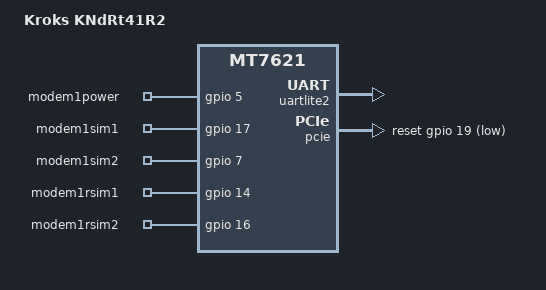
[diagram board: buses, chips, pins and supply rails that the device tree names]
#include "mt7621_kroks_wifi_mt7603_mt7613.dtsi"

/ {
	compatible = "kroks,kndrt41r2", "mediatek,mt7621-soc";
	model = "Kroks KNdRt41R2";

	aliases {
		serial1 = &uartlite2;
	};

	gpio_export {
		compatible = "gpio-export";
		#size-cells = <0>;

		modem1power {
			gpio-export,name = "modem1power";
			gpio-export,output = <1>;
			gpios = <&gpio 5 GPIO_ACTIVE_HIGH>;
		};

		modem1sim1 {
			gpio-export,name = "modem1sim1";
			gpio-export,output = <0>;
			gpios = <&gpio 17 GPIO_ACTIVE_HIGH>;
		};

		modem1sim2 {
			gpio-export,name = "modem1sim2";
			gpio-export,output = <0>;
			gpios = <&gpio 7 GPIO_ACTIVE_HIGH>;
		};

		modem1rsim1 {
			gpio-export,name = "modem1rsim1";
			gpio-export,output = <1>;
			gpios = <&gpio 14 GPIO_ACTIVE_HIGH>;
		};

		modem1rsim2 {
			gpio-export,name = "modem1rsim2";
			gpio-export,output = <0>;
			gpios = <&gpio 16 GPIO_ACTIVE_HIGH>;
		};
	};
};

&uartlite2 {
	status = "okay";
};

&switch0 {
	ports {
		port@3 {
			status = "okay";
			label = "lan2";
		};

		port@4 {
			status = "okay";
			label = "lan1";
		};
	};
};

&xhci {
	mediatek,u2p-dis-msk = <0x2>;
};

&pcie {
	reset-gpios = <&gpio 19 GPIO_ACTIVE_LOW>,
		      <>,
		      <&gpio 0 GPIO_ACTIVE_LOW>;
};

&pcie2 {
	status = "disabled";
};

&pcie2_phy {
	status = "disabled";
};
